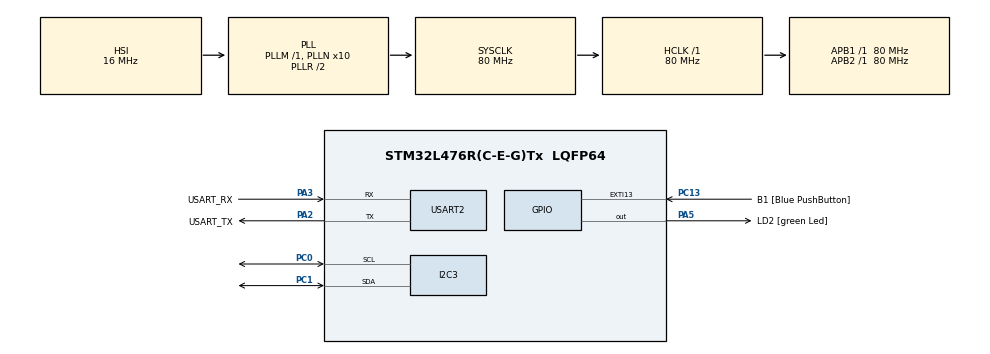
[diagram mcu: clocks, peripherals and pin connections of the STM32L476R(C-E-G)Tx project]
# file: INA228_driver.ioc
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I2C3.Timing=0x10D19CE4
Mcu.Family=STM32L4
Mcu.Name=STM32L476R(C-E-G)Tx
Mcu.Package=LQFP64
NVIC.PriorityGroup=NVIC_PRIORITYGROUP_4
PA13\ (JTMS-SWDIO).GPIO_Label=TMS
PA13\ (JTMS-SWDIO).Mode=Serial_Wire
PA13\ (JTMS-SWDIO).Signal=SYS_JTMS-SWDIO
PA14\ (JTCK-SWCLK).GPIO_Label=TCK
PA14\ (JTCK-SWCLK).Mode=Serial_Wire
PA14\ (JTCK-SWCLK).Signal=SYS_JTCK-SWCLK
PA2.GPIO_Label=USART_TX
PA2.GPIO_Mode=GPIO_MODE_AF_PP
PA2.GPIO_PuPd=GPIO_NOPULL
PA2.GPIO_Speed=GPIO_SPEED_FREQ_VERY_HIGH
PA2.Mode=Asynchronous
PA2.Signal=USART2_TX
PA3.GPIO_Label=USART_RX
PA3.GPIO_Mode=GPIO_MODE_AF_PP
PA3.GPIO_PuPd=GPIO_NOPULL
PA3.GPIO_Speed=GPIO_SPEED_FREQ_VERY_HIGH
PA3.Mode=Asynchronous
PA3.Signal=USART2_RX
PA5.GPIO_Label=LD2 [green Led]
PA5.GPIO_ModeDefaultOutputPP=GPIO_MODE_OUTPUT_PP
PA5.GPIO_PuPd=GPIO_NOPULL
PA5.GPIO_Speed=GPIO_SPEED_FREQ_LOW
PA5.Signal=GPIO_Output
PB3\ (JTDO-TRACESWO).GPIO_Label=SWO
PB3\ (JTDO-TRACESWO).Signal=SYS_JTDO-SWO
PB8.Signal=I2C1_SCL
PB9.Signal=I2C1_SDA
PC0.Mode=I2C
PC0.Signal=I2C3_SCL
PC1.Mode=I2C
PC1.Signal=I2C3_SDA
PC13.GPIO_Label=B1 [Blue PushButton]
PC13.GPIO_ModeDefaultEXTI=GPIO_MODE_IT_FALLING
PC13.GPIO_PuPd=GPIO_NOPULL
PC13.Signal=GPXTI13
PC14-OSC32_IN\ (PC14).Mode=LSE-External-Oscillator
PC14-OSC32_IN\ (PC14).Signal=RCC_OSC32_IN
PC15-OSC32_OUT\ (PC15).Mode=LSE-External-Oscillator
PC15-OSC32_OUT\ (PC15).Signal=RCC_OSC32_OUT
PH0-OSC_IN\ (PH0).Signal=RCC_OSC_IN
PH1-OSC_OUT\ (PH1).Signal=RCC_OSC_OUT
ProjectManager.HeapSize=0x200
ProjectManager.StackSize=0x400
ProjectManager.TargetToolchain=STM32CubeIDE
RCC.ADCFreq_Value=64000000
RCC.AHBFreq_Value=80000000
RCC.APB1Freq_Value=80000000
RCC.APB1TimFreq_Value=80000000
RCC.APB2Freq_Value=80000000
RCC.APB2TimFreq_Value=80000000
RCC.CortexFreq_Value=80000000
RCC.HCLKFreq_Value=80000000
RCC.HSE_VALUE=8000000
RCC.HSI_VALUE=16000000
RCC.MSI_VALUE=4000000
RCC.PLLN=10
RCC.PLLSourceVirtual=RCC_PLLSOURCE_HSI
RCC.PREFETCH_ENABLE=1
RCC.SYSCLKFreq_VALUE=80000000
RCC.SYSCLKSource=RCC_SYSCLKSOURCE_PLLCLK
RCC.USBFreq_Value=64000000
RCC.VCOOutputFreq_Value=160000000
USART2.VirtualMode-Asynchronous=VM_ASYNC
board=NUCLEO-L476RG

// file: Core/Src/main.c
/* USER CODE BEGIN Header */
/**
  ******************************************************************************
  * @file           : main.c
  * @brief          : Main program body
  ******************************************************************************
  * @attention
  *
  * Copyright (c) 2025 STMicroelectronics.
  * All rights reserved.
  *
  * This software is licensed under terms that can be found in the LICENSE file
  * in the root directory of this software component.
  * If no LICENSE file comes with this software, it is provided AS-IS.
  *
  ******************************************************************************
  */
/* USER CODE END Header */
#include "main.h"

/* USER CODE BEGIN Includes */
#include <stdio.h>
#include "INA228.h"
/* USER CODE END Includes */

I2C_HandleTypeDef hi2c3;

UART_HandleTypeDef huart2;

/* USER CODE BEGIN PV */

INA228_Handle_t INA228_v1;

/* USER CODE END PV */

void SystemClock_Config(void);
static void MX_GPIO_Init(void);
static void MX_USART2_UART_Init(void);
static void MX_I2C3_Init(void);

/* USER CODE BEGIN 0 */

int __io_putchar(int ch)
{
  if (ch == '\n') {
    __io_putchar('\r');
  }

  HAL_UART_Transmit(&huart2, (uint8_t*)&ch, 1, HAL_MAX_DELAY);

  return 1;
}

/* USER CODE END 0 */

int main(void)
{

  /* MCU Configuration--------------------------------------------------------*/

  /* Reset of all peripherals, Initializes the Flash interface and the Systick. */
  HAL_Init();

  /* Configure the system clock */
  SystemClock_Config();

  /* Initialize all configured peripherals */
  MX_GPIO_Init();
  MX_USART2_UART_Init();
  MX_I2C3_Init();
  /* USER CODE BEGIN 2 */

  printf("INA228 init...\r\n");

  if (INA228_Init(&INA228_v1,
		  	  &hi2c3,
		  	  0x40, /// i2c address
			  AVG_4, /// averaging [samples]
			  CONV_TIME_4120us, // vbus + vshunt conv time
			  CONV_TIME_4120us, // temperature conv time
			  MODE_CONT_TEMP_SHUNT_BUS,
			  R_SHUNT_DEFAULT, // default value: 0.015 [Ohm]
			  5.0) // max current [A]
		  == HAL_OK)
  {
	  printf("INA228 init: OK\r\n");
  }
  else{
	  printf("INA228 init: ERR\r\n");
  }

int idx = 0;
  /* USER CODE END 2 */

  /* Infinite loop */
  /* USER CODE BEGIN WHILE */
  while (1)
  {

	  ///// print measured values
	  float current;
	  float vbus;
	  float power_measured;
	  float temp;

	   ////// Check if read operations succeed
	  if (	(INA228_ReadCurrent(&INA228_v1, &current) == HAL_OK) &&
			  (INA228_ReadBusVoltage(&INA228_v1, &vbus)== HAL_OK) &&
			  (INA228_ReadPower(&INA228_v1, &power_measured)==HAL_OK)&&
			  (INA228_ReadDieTemp(&INA228_v1, &temp)== HAL_OK) )
		{
		  printf("idx: %4d current: %2.8f vbus: %2.8f power_m: %2.8f temp: %2.3f *C\r\n", idx++, current,vbus,power_measured, temp);
		}
	  else
	  {
		  printf("INA228 Read ERR\r\n");
	  }

	  HAL_Delay(200);

    /* USER CODE END WHILE */

  }
}

void SystemClock_Config(void)
{
  RCC_OscInitTypeDef RCC_OscInitStruct = {0};
  RCC_ClkInitTypeDef RCC_ClkInitStruct = {0};

  /** Configure the main internal regulator output voltage
  */
  if (HAL_PWREx_ControlVoltageScaling(PWR_REGULATOR_VOLTAGE_SCALE1) != HAL_OK)
  {
    Error_Handler();
  }

  /** Initializes the RCC Oscillators according to the specified parameters
  * in the RCC_OscInitTypeDef structure.
  */
  RCC_OscInitStruct.OscillatorType = RCC_OSCILLATORTYPE_HSI;
  RCC_OscInitStruct.HSIState = RCC_HSI_ON;
  RCC_OscInitStruct.HSICalibrationValue = RCC_HSICALIBRATION_DEFAULT;
  RCC_OscInitStruct.PLL.PLLState = RCC_PLL_ON;
  RCC_OscInitStruct.PLL.PLLSource = RCC_PLLSOURCE_HSI;
  RCC_OscInitStruct.PLL.PLLM = 1;
  RCC_OscInitStruct.PLL.PLLN = 10;
  RCC_OscInitStruct.PLL.PLLP = RCC_PLLP_DIV7;
  RCC_OscInitStruct.PLL.PLLQ = RCC_PLLQ_DIV2;
  RCC_OscInitStruct.PLL.PLLR = RCC_PLLR_DIV2;
  if (HAL_RCC_OscConfig(&RCC_OscInitStruct) != HAL_OK)
  {
    Error_Handler();
  }

  /** Initializes the CPU, AHB and APB buses clocks
  */
  RCC_ClkInitStruct.ClockType = RCC_CLOCKTYPE_HCLK|RCC_CLOCKTYPE_SYSCLK
                              |RCC_CLOCKTYPE_PCLK1|RCC_CLOCKTYPE_PCLK2;
  RCC_ClkInitStruct.SYSCLKSource = RCC_SYSCLKSOURCE_PLLCLK;
  RCC_ClkInitStruct.AHBCLKDivider = RCC_SYSCLK_DIV1;
  RCC_ClkInitStruct.APB1CLKDivider = RCC_HCLK_DIV1;
  RCC_ClkInitStruct.APB2CLKDivider = RCC_HCLK_DIV1;

  if (HAL_RCC_ClockConfig(&RCC_ClkInitStruct, FLASH_LATENCY_4) != HAL_OK)
  {
    Error_Handler();
  }
}

static void MX_I2C3_Init(void)
{

  hi2c3.Instance = I2C3;
  hi2c3.Init.Timing = 0x10D19CE4;
  hi2c3.Init.OwnAddress1 = 0;
  hi2c3.Init.AddressingMode = I2C_ADDRESSINGMODE_7BIT;
  hi2c3.Init.DualAddressMode = I2C_DUALADDRESS_DISABLE;
  hi2c3.Init.OwnAddress2 = 0;
  hi2c3.Init.OwnAddress2Masks = I2C_OA2_NOMASK;
  hi2c3.Init.GeneralCallMode = I2C_GENERALCALL_DISABLE;
  hi2c3.Init.NoStretchMode = I2C_NOSTRETCH_DISABLE;
  if (HAL_I2C_Init(&hi2c3) != HAL_OK)
  {
    Error_Handler();
  }

  /** Configure Analogue filter
  */
  if (HAL_I2CEx_ConfigAnalogFilter(&hi2c3, I2C_ANALOGFILTER_ENABLE) != HAL_OK)
  {
    Error_Handler();
  }

  /** Configure Digital filter
  */
  if (HAL_I2CEx_ConfigDigitalFilter(&hi2c3, 0) != HAL_OK)
  {
    Error_Handler();
  }

}

static void MX_USART2_UART_Init(void)
{

  huart2.Instance = USART2;
  huart2.Init.BaudRate = 115200;
  huart2.Init.WordLength = UART_WORDLENGTH_8B;
  huart2.Init.StopBits = UART_STOPBITS_1;
  huart2.Init.Parity = UART_PARITY_NONE;
  huart2.Init.Mode = UART_MODE_TX_RX;
  huart2.Init.HwFlowCtl = UART_HWCONTROL_NONE;
  huart2.Init.OverSampling = UART_OVERSAMPLING_16;
  huart2.Init.OneBitSampling = UART_ONE_BIT_SAMPLE_DISABLE;
  huart2.AdvancedInit.AdvFeatureInit = UART_ADVFEATURE_NO_INIT;
  if (HAL_UART_Init(&huart2) != HAL_OK)
  {
    Error_Handler();
  }

}

static void MX_GPIO_Init(void)
{
  GPIO_InitTypeDef GPIO_InitStruct = {0};

  /* GPIO Ports Clock Enable */
  __HAL_RCC_GPIOC_CLK_ENABLE();
  __HAL_RCC_GPIOH_CLK_ENABLE();
  __HAL_RCC_GPIOA_CLK_ENABLE();
  __HAL_RCC_GPIOB_CLK_ENABLE();

  /*Configure GPIO pin Output Level */
  HAL_GPIO_WritePin(LD2_GPIO_Port, LD2_Pin, GPIO_PIN_RESET);

  /*Configure GPIO pin : B1_Pin */
  GPIO_InitStruct.Pin = B1_Pin;
  GPIO_InitStruct.Mode = GPIO_MODE_IT_FALLING;
  GPIO_InitStruct.Pull = GPIO_NOPULL;
  HAL_GPIO_Init(B1_GPIO_Port, &GPIO_InitStruct);

  /*Configure GPIO pin : LD2_Pin */
  GPIO_InitStruct.Pin = LD2_Pin;
  GPIO_InitStruct.Mode = GPIO_MODE_OUTPUT_PP;
  GPIO_InitStruct.Pull = GPIO_NOPULL;
  GPIO_InitStruct.Speed = GPIO_SPEED_FREQ_LOW;
  HAL_GPIO_Init(LD2_GPIO_Port, &GPIO_InitStruct);

  /*Configure GPIO pins : PB8 PB9 */
  GPIO_InitStruct.Pin = GPIO_PIN_8|GPIO_PIN_9;
  GPIO_InitStruct.Mode = GPIO_MODE_AF_OD;
  GPIO_InitStruct.Pull = GPIO_NOPULL;
  GPIO_InitStruct.Speed = GPIO_SPEED_FREQ_VERY_HIGH;
  GPIO_InitStruct.Alternate = GPIO_AF4_I2C1;
  HAL_GPIO_Init(GPIOB, &GPIO_InitStruct);

}

void Error_Handler(void)
{
  __disable_irq();
  while (1)
  {
  }
}
